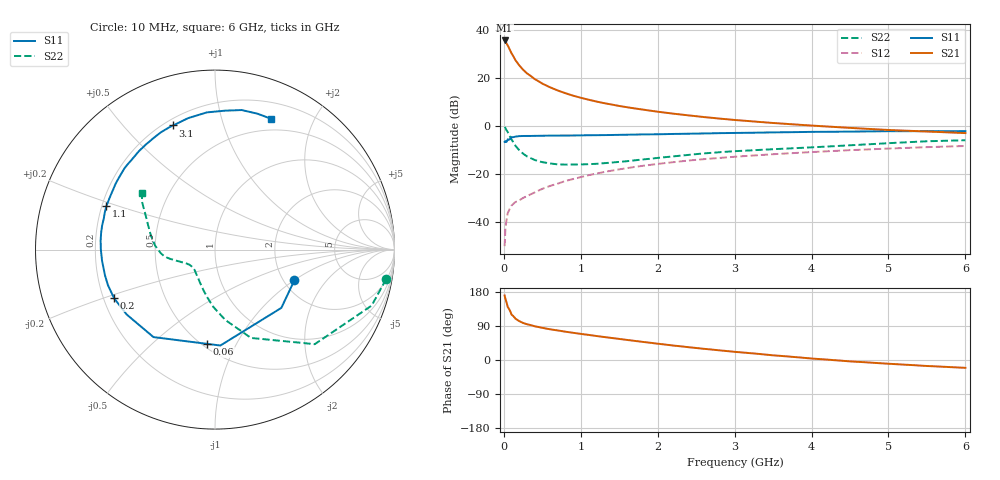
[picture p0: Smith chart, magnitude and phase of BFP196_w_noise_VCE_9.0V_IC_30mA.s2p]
! (c) 2017  Infineon Technologies AG, Munich
! Infineon Technologies  Discrete & RF Semiconductors
! BFP196
! VCE =  9.0 V,  IC =  30 mA
! Common Emitter S-Parameters:  Jan 2017
# GHz  S  MA  R  50
!  f  S11  S21  S12  S22
! GHz  MAG  ANG  MAG  ANG  MAG  ANG  MAG  ANG
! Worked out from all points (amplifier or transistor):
!   77 points, 10 MHz to 6 GHz, reference 50 ohm
!   highest |S21| = 35.7 dB at 10 MHz (marker M1)
!   |S21| within 3 dB of that: start of sweep to 64.98 MHz
!   unconditionally stable (mu >= 1): 684.6 MHz to 2.381 GHz
!   at 130 MHz: K = 0.46, MSG = 30.4 dB, |S12| = -32.1 dB
!   at 2.2 GHz: K = 1.01, MAG = 9.5 dB, |S12| = -15.0 dB
!   at 6 GHz: K = 0.92, MSG = 2.7 dB, |S12| = -8.2 dB
!   lowest NFmin = 1.22 dB at 450 MHz
!   S11 on the Smith chart (normalised r, x): 10 MHz: 2.28, -1.00; 60 MHz: 0.53, -0.77; 200 MHz: 0.24, -0.22; 1.1 GHz: 0.22, +0.18; 3.1 GHz: 0.23, +0.69; 6 GHz: 0.37, +1.45
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0.01  0.4742 -21.1  61.16 170.4  0.0032 82.6  0.9679 -9.8
0.02  0.492 -41.3  59.56 161.8  0.0071 76.8  0.9265 -19.7
0.05  0.5353 -86.8  48.39 140.2  0.0155 61.2  0.7657 -43.5
0.06  0.527 -94.9  44.97 137.3  0.0168 58.6  0.7108 -47.0
0.1  0.596 -125.1  33.04 119.8  0.0224 51.3  0.5317 -67.8
0.15  0.6106 -143.7  23.9 109.2  0.0265 47.9  0.3952 -81.8
0.2  0.6242 -154.3  18.55 102.6  0.0287 49.3  0.3186 -91.8
0.25  0.6285 -161.7  15.08 97.8  0.0322 50.6  0.2697 -99.1
0.3  0.6295 -166.8  12.66 94.4  0.0352 53.0  0.237 -105.5
0.4  0.6324 -174.3  9.641 89.0  0.0419 56.9  0.1992 -115.3
0.5  0.6361 179.9  7.741 84.8  0.0499 58.4  0.1794 -123.0
0.6  0.6391 175.5  6.488 81.1  0.0574 59.7  0.1686 -129.4
0.7  0.6413 171.7  5.567 78.0  0.0639 61.8  0.1613 -134.2
0.9  0.6433 164.5  4.34 71.8  0.0798 61.8  0.16 -141.7
1.1  0.6517 158.1  3.581 66.3  0.096 61.0  0.1628 -147.2
1.5  0.6641 146.6  2.649 55.6  0.127 58.4  0.1817 -155.7
2.1  0.687 130.4  1.922 40.7  0.1718 51.9  0.2279 -164.8
2.6  0.7095 118.9  1.558 29.5  0.207 45.9  0.2728 -170.8
3.1  0.73 108.7  1.316 19.9  0.2381 39.9  0.3089 -177.9
4.1  0.7668 91.9  1.013 2.5  0.2962 28.3  0.3717 165.9
5.1  0.7911 77.9  0.826 -11.0  0.3487 16.8  0.4536 150.5
6  0.7929 66.7  0.722 -20.7  0.3894 6.6  0.5128 142.3
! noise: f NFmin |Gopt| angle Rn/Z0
0.45  1.22  0.34  169  0.05
0.9  1.38  0.45  -172  0.06
1.9  2.24  0.68  -135  0.25
2.4  2.64  0.71  -121  0.6
